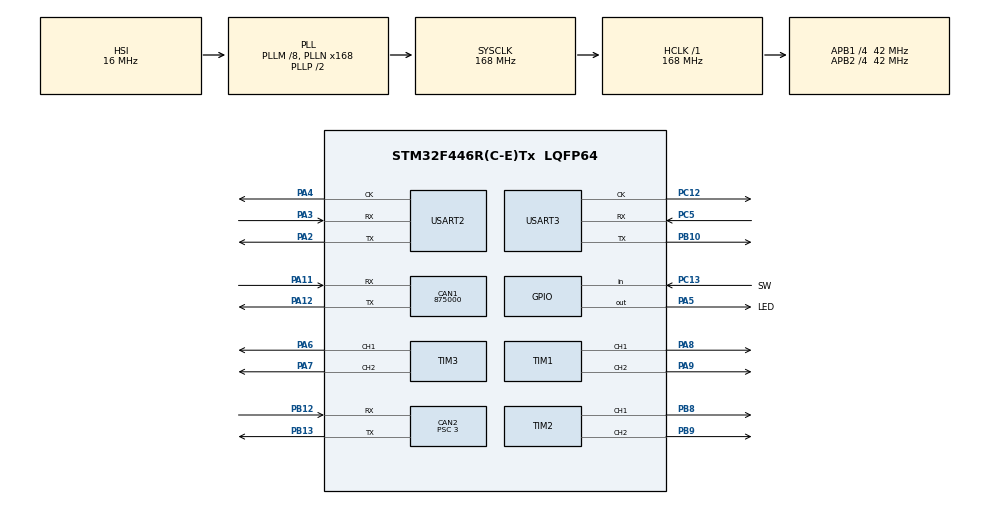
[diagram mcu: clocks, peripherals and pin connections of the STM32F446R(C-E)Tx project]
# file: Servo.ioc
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CAN1.CalculateBaudRate=875000
CAN1.CalculateTimeBit=1142
CAN1.CalculateTimeQuantum=380.95238095238096
CAN2.ABOM=ENABLE
CAN2.BS1=CAN_BS1_11TQ
CAN2.BS2=CAN_BS2_2TQ
CAN2.CalculateBaudRate=1000000
CAN2.CalculateTimeBit=1000
CAN2.CalculateTimeQuantum=71.42857142857143
CAN2.NART=ENABLE
CAN2.Prescaler=3
CAN2.SJW=CAN_SJW_4TQ
Mcu.Family=STM32F4
Mcu.Name=STM32F446R(C-E)Tx
Mcu.Package=LQFP64
NVIC.CAN1_RX0_IRQn=true\:0\:0\:false\:false\:true\:true\:true\:true
NVIC.CAN2_RX0_IRQn=false\:0\:0\:false\:false\:true\:true\:true\:true
NVIC.PriorityGroup=NVIC_PRIORITYGROUP_4
PA11.Mode=CAN_Activate
PA11.Signal=CAN1_RX
PA12.Mode=CAN_Activate
PA12.Signal=CAN1_TX
PA2.Mode=Synchronous
PA2.Signal=USART2_TX
PA3.Mode=Synchronous
PA3.Signal=USART2_RX
PA4.Mode=Synchronous
PA4.Signal=USART2_CK
PA5.GPIO_Label=LED
PA5.Signal=GPIO_Output
PA6.Signal=S_TIM3_CH1
PA7.Signal=S_TIM3_CH2
PA8.Signal=S_TIM1_CH1
PA9.Signal=S_TIM1_CH2
PB10.Mode=Synchronous
PB10.Signal=USART3_TX
PB12.Mode=CAN_Activate
PB12.Signal=CAN2_RX
PB13.Mode=CAN_Activate
PB13.Signal=CAN2_TX
PB8.Signal=S_TIM2_CH1_ETR
PB9.Signal=S_TIM2_CH2
PC12.Mode=Synchronous
PC12.Signal=USART3_CK
PC13.GPIO_Label=SW
PC13.Signal=GPIO_Input
PC5.Mode=Synchronous
PC5.Signal=USART3_RX
ProjectManager.HeapSize=0x200
ProjectManager.StackSize=0x400
ProjectManager.TargetToolchain=CMake
RCC.AHBFreq_Value=168000000
RCC.APB1CLKDivider=RCC_HCLK_DIV4
RCC.APB1Freq_Value=42000000
RCC.APB1TimFreq_Value=84000000
RCC.APB2CLKDivider=RCC_HCLK_DIV4
RCC.APB2Freq_Value=42000000
RCC.APB2TimFreq_Value=84000000
RCC.CortexFreq_Value=168000000
RCC.HCLKFreq_Value=168000000
RCC.PLLM=8
RCC.PLLN=168
RCC.SYSCLKFreq_VALUE=168000000
RCC.SYSCLKSource=RCC_SYSCLKSOURCE_PLLCLK
RCC.USBFreq_Value=168000000
RCC.VCOOutputFreq_Value=336000000
SH.S_TIM1_CH1.0=TIM1_CH1,PWM Generation1 CH1
SH.S_TIM1_CH2.0=TIM1_CH2,PWM Generation2 CH2
SH.S_TIM2_CH1_ETR.0=TIM2_CH1,PWM Generation1 CH1
SH.S_TIM2_CH2.0=TIM2_CH2,PWM Generation2 CH2
SH.S_TIM3_CH1.0=TIM3_CH1,PWM Generation1 CH1
SH.S_TIM3_CH2.0=TIM3_CH2,PWM Generation2 CH2
TIM1.Channel-PWM\ Generation1\ CH1=TIM_CHANNEL_1
TIM1.Channel-PWM\ Generation2\ CH2=TIM_CHANNEL_2
TIM2.Channel-PWM\ Generation1\ CH1=TIM_CHANNEL_1
TIM2.Channel-PWM\ Generation2\ CH2=TIM_CHANNEL_2
TIM3.Channel-PWM\ Generation1\ CH1=TIM_CHANNEL_1
TIM3.Channel-PWM\ Generation2\ CH2=TIM_CHANNEL_2
USART2.VirtualMode=VM_SYNC
USART3.VirtualMode=VM_SYNC
board=custom

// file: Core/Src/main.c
#include "main.h"
/* USER CODE BEGIN Includes */
#include "Altair_library_for_CubeIDE/altair.h"
/* USER CODE END Includes */

/* USER CODE BEGIN PD */
/* サーボ軸数（固定6軸） */
#define SERVO_COUNT 6U
/* サーボ目標角度を受信するCAN標準ID（100(dec) または 0x100(hex) を許可） */
#define CAN_SERVO_CMD_STD_ID_DEC 100U
#define CAN_SERVO_CMD_STD_ID_HEX 0x100U
/* 通信途絶とみなすまでの無受信時間[ms] */
#define CAN_RX_TIMEOUT_MS 200U
/* サーボ最小パルス幅[us]（0deg相当） */
#define SERVO_MIN_PULSE_US 500U
/* サーボ最大パルス幅[us]（180deg相当） */
#define SERVO_MAX_PULSE_US 2500U
/* 受け付ける角度の上限[deg] */
#define SERVO_MAX_DEGREE 180U
/* 一般的なRCサーボ向けPWM: 50Hz（20ms周期）, 1us分解能 */
#define SERVO_PWM_PRESCALER 83U
#define SERVO_PWM_PERIOD_TICKS 19999U
/* CAN値の微小な揺れを無視するしきい値[deg] */
#define SERVO_CAN_DEADBAND_DEG 0U
/* 同じ目標値を何回連続で受けたら反映するか */
#define SERVO_CAN_STABLE_COUNT 1U
/* USER CODE END PD */

CAN_HandleTypeDef hcan1;
CAN_HandleTypeDef hcan2;

TIM_HandleTypeDef htim1;
TIM_HandleTypeDef htim2;
TIM_HandleTypeDef htim3;

USART_HandleTypeDef husart2;
USART_HandleTypeDef husart3;

/* USER CODE BEGIN PV */
/* 各サーボの目標角度（初期値は全軸90度） */
static volatile uint8_t g_servo_target_deg[SERVO_COUNT] = {90U, 90U, 90U,
                                                           90U, 90U, 90U};
/* 直近のCAN受信角度を一時保持 */
static uint8_t g_servo_candidate_deg[SERVO_COUNT] = {90U, 90U, 90U,
                                                     90U, 90U, 90U};
/* 同じ候補値が連続した回数 */
static uint8_t g_servo_candidate_count[SERVO_COUNT] = {0U, 0U, 0U, 0U, 0U, 0U};
/* 最後に有効なCANを受信した時刻[ms] */
static volatile uint32_t g_last_can_rx_tick = 0U;
/* 最初の有効CAN受信後にPWM出力を開始する */
static uint8_t g_servo_outputs_started = 0U;
/* USER CODE END PV */

void SystemClock_Config(void);
static void MX_GPIO_Init(void);
static void MX_CAN1_Init(void);
static void MX_CAN2_Init(void);
static void MX_TIM1_Init(void);
static void MX_TIM2_Init(void);
static void MX_TIM3_Init(void);
static void MX_USART2_Init(void);
static void MX_USART3_Init(void);
/* USER CODE BEGIN PFP */
static uint32_t Servo_AngleToPulseUs(uint8_t degree);
static void Servo_ApplyTargets(void);
static void Servo_StartPwmOutputs(void);
static void Servo_ProcessCanCommand(void);
static uint8_t Servo_IsAcceptedCanId(uint32_t std_id);
static uint8_t Servo_GetAbsDiff(uint8_t lhs, uint8_t rhs);
/* USER CODE END PFP */

int main(void) {
  HAL_Init();
  SystemClock_Config();
  MX_GPIO_Init();
  MX_CAN1_Init();
  MX_CAN2_Init();
  MX_TIM1_Init();
  MX_TIM2_Init();
  MX_TIM3_Init();
  MX_USART2_Init();
  MX_USART3_Init();

  /* USER CODE BEGIN 2 */
  /* AltairライブラリのCAN初期化（フィルタ設定 + 受信割り込み開始） */
  CanInitConfig can1_config = Can_DefaultInitConfig(&hcan1);
  if (Can_Init(&hcan1, &can1_config) != HAL_OK) {
    Error_Handler();
  }

  /* CAN受信待ちに関係なく、初期角度でPWM出力を開始する */
  Servo_ApplyTargets();
  Servo_StartPwmOutputs();
  g_servo_outputs_started = 1U;
  /* USER CODE END 2 */

  while (1) {
    /* USER CODE BEGIN WHILE */
    /* can_lib.c 側コールバックで受信されたフレームを処理 */
    Servo_ProcessCanCommand();

    /* 受信が一定時間ない場合は通信LEDを消灯（角度は保持） */
    if ((HAL_GetTick() - g_last_can_rx_tick) > CAN_RX_TIMEOUT_MS) {
      HAL_GPIO_WritePin(LED_GPIO_Port, LED_Pin, GPIO_PIN_RESET);
    }
  }
}

void SystemClock_Config(void) {
  RCC_OscInitTypeDef RCC_OscInitStruct = {0};
  RCC_ClkInitTypeDef RCC_ClkInitStruct = {0};

  /** Configure the main internal regulator output voltage
   */
  __HAL_RCC_PWR_CLK_ENABLE();
  __HAL_PWR_VOLTAGESCALING_CONFIG(PWR_REGULATOR_VOLTAGE_SCALE1);

  /** Initializes the RCC Oscillators according to the specified parameters
   * in the RCC_OscInitTypeDef structure.
   */
  RCC_OscInitStruct.OscillatorType = RCC_OSCILLATORTYPE_HSI;
  RCC_OscInitStruct.HSIState = RCC_HSI_ON;
  RCC_OscInitStruct.HSICalibrationValue = RCC_HSICALIBRATION_DEFAULT;
  RCC_OscInitStruct.PLL.PLLState = RCC_PLL_ON;
  RCC_OscInitStruct.PLL.PLLSource = RCC_PLLSOURCE_HSI;
  RCC_OscInitStruct.PLL.PLLM = 8;
  RCC_OscInitStruct.PLL.PLLN = 168;
  RCC_OscInitStruct.PLL.PLLP = RCC_PLLP_DIV2;
  RCC_OscInitStruct.PLL.PLLQ = 2;
  RCC_OscInitStruct.PLL.PLLR = 2;
  if (HAL_RCC_OscConfig(&RCC_OscInitStruct) != HAL_OK) {
    Error_Handler();
  }

  /** Initializes the CPU, AHB and APB buses clocks
   */
  RCC_ClkInitStruct.ClockType = RCC_CLOCKTYPE_HCLK | RCC_CLOCKTYPE_SYSCLK |
                                RCC_CLOCKTYPE_PCLK1 | RCC_CLOCKTYPE_PCLK2;
  RCC_ClkInitStruct.SYSCLKSource = RCC_SYSCLKSOURCE_PLLCLK;
  RCC_ClkInitStruct.AHBCLKDivider = RCC_SYSCLK_DIV1;
  RCC_ClkInitStruct.APB1CLKDivider = RCC_HCLK_DIV4;
  RCC_ClkInitStruct.APB2CLKDivider = RCC_HCLK_DIV4;

  if (HAL_RCC_ClockConfig(&RCC_ClkInitStruct, FLASH_LATENCY_5) != HAL_OK) {
    Error_Handler();
  }
}

static void MX_CAN1_Init(void) {

  hcan1.Instance = CAN1;
  hcan1.Init.Prescaler = 2;
  hcan1.Init.Mode = CAN_MODE_NORMAL;
  hcan1.Init.SyncJumpWidth = CAN_SJW_2TQ;
  hcan1.Init.TimeSeg1 = CAN_BS1_16TQ;
  hcan1.Init.TimeSeg2 = CAN_BS2_4TQ;
  hcan1.Init.TimeTriggeredMode = DISABLE;
  hcan1.Init.AutoBusOff = ENABLE;
  hcan1.Init.AutoWakeUp = DISABLE;
  hcan1.Init.AutoRetransmission = ENABLE;
  hcan1.Init.ReceiveFifoLocked = DISABLE;
  hcan1.Init.TransmitFifoPriority = DISABLE;
  if (HAL_CAN_Init(&hcan1) != HAL_OK) {
    Error_Handler();
  }
}

static void MX_CAN2_Init(void) {

  hcan2.Instance = CAN2;
  hcan2.Init.Prescaler = 2;
  hcan2.Init.Mode = CAN_MODE_NORMAL;
  hcan2.Init.SyncJumpWidth = CAN_SJW_2TQ;
  hcan2.Init.TimeSeg1 = CAN_BS1_16TQ;
  hcan2.Init.TimeSeg2 = CAN_BS2_4TQ;
  hcan2.Init.TimeTriggeredMode = DISABLE;
  hcan2.Init.AutoBusOff = ENABLE;
  hcan2.Init.AutoWakeUp = DISABLE;
  hcan2.Init.AutoRetransmission = ENABLE;
  hcan2.Init.ReceiveFifoLocked = DISABLE;
  hcan2.Init.TransmitFifoPriority = DISABLE;
  if (HAL_CAN_Init(&hcan2) != HAL_OK) {
    Error_Handler();
  }
}

static void MX_TIM1_Init(void) {

  TIM_MasterConfigTypeDef sMasterConfig = {0};
  TIM_OC_InitTypeDef sConfigOC = {0};
  TIM_BreakDeadTimeConfigTypeDef sBreakDeadTimeConfig = {0};

  htim1.Instance = TIM1;
  htim1.Init.Prescaler = SERVO_PWM_PRESCALER;
  htim1.Init.CounterMode = TIM_COUNTERMODE_UP;
  htim1.Init.Period = SERVO_PWM_PERIOD_TICKS;
  htim1.Init.ClockDivision = TIM_CLOCKDIVISION_DIV1;
  htim1.Init.RepetitionCounter = 0;
  htim1.Init.AutoReloadPreload = TIM_AUTORELOAD_PRELOAD_DISABLE;
  if (HAL_TIM_PWM_Init(&htim1) != HAL_OK) {
    Error_Handler();
  }
  sMasterConfig.MasterOutputTrigger = TIM_TRGO_RESET;
  sMasterConfig.MasterSlaveMode = TIM_MASTERSLAVEMODE_DISABLE;
  if (HAL_TIMEx_MasterConfigSynchronization(&htim1, &sMasterConfig) != HAL_OK) {
    Error_Handler();
  }
  sConfigOC.OCMode = TIM_OCMODE_PWM1;
  sConfigOC.Pulse = 0;
  sConfigOC.OCPolarity = TIM_OCPOLARITY_HIGH;
  sConfigOC.OCNPolarity = TIM_OCNPOLARITY_HIGH;
  sConfigOC.OCFastMode = TIM_OCFAST_DISABLE;
  sConfigOC.OCIdleState = TIM_OCIDLESTATE_RESET;
  sConfigOC.OCNIdleState = TIM_OCNIDLESTATE_RESET;
  if (HAL_TIM_PWM_ConfigChannel(&htim1, &sConfigOC, TIM_CHANNEL_1) != HAL_OK) {
    Error_Handler();
  }
  if (HAL_TIM_PWM_ConfigChannel(&htim1, &sConfigOC, TIM_CHANNEL_2) != HAL_OK) {
    Error_Handler();
  }
  sBreakDeadTimeConfig.OffStateRunMode = TIM_OSSR_DISABLE;
  sBreakDeadTimeConfig.OffStateIDLEMode = TIM_OSSI_DISABLE;
  sBreakDeadTimeConfig.LockLevel = TIM_LOCKLEVEL_OFF;
  sBreakDeadTimeConfig.DeadTime = 0;
  sBreakDeadTimeConfig.BreakState = TIM_BREAK_DISABLE;
  sBreakDeadTimeConfig.BreakPolarity = TIM_BREAKPOLARITY_HIGH;
  sBreakDeadTimeConfig.AutomaticOutput = TIM_AUTOMATICOUTPUT_DISABLE;
  if (HAL_TIMEx_ConfigBreakDeadTime(&htim1, &sBreakDeadTimeConfig) != HAL_OK) {
    Error_Handler();
  }
  HAL_TIM_MspPostInit(&htim1);
}

static void MX_TIM2_Init(void) {

  TIM_MasterConfigTypeDef sMasterConfig = {0};
  TIM_OC_InitTypeDef sConfigOC = {0};

  htim2.Instance = TIM2;
  htim2.Init.Prescaler = SERVO_PWM_PRESCALER;
  htim2.Init.CounterMode = TIM_COUNTERMODE_UP;
  htim2.Init.Period = SERVO_PWM_PERIOD_TICKS;
  htim2.Init.ClockDivision = TIM_CLOCKDIVISION_DIV1;
  htim2.Init.AutoReloadPreload = TIM_AUTORELOAD_PRELOAD_DISABLE;
  if (HAL_TIM_PWM_Init(&htim2) != HAL_OK) {
    Error_Handler();
  }
  sMasterConfig.MasterOutputTrigger = TIM_TRGO_RESET;
  sMasterConfig.MasterSlaveMode = TIM_MASTERSLAVEMODE_DISABLE;
  if (HAL_TIMEx_MasterConfigSynchronization(&htim2, &sMasterConfig) != HAL_OK) {
    Error_Handler();
  }
  sConfigOC.OCMode = TIM_OCMODE_PWM1;
  sConfigOC.Pulse = 0;
  sConfigOC.OCPolarity = TIM_OCPOLARITY_HIGH;
  sConfigOC.OCFastMode = TIM_OCFAST_DISABLE;
  if (HAL_TIM_PWM_ConfigChannel(&htim2, &sConfigOC, TIM_CHANNEL_1) != HAL_OK) {
    Error_Handler();
  }
  if (HAL_TIM_PWM_ConfigChannel(&htim2, &sConfigOC, TIM_CHANNEL_2) != HAL_OK) {
    Error_Handler();
  }
  HAL_TIM_MspPostInit(&htim2);
}

static void MX_TIM3_Init(void) {

  TIM_MasterConfigTypeDef sMasterConfig = {0};
  TIM_OC_InitTypeDef sConfigOC = {0};

  htim3.Instance = TIM3;
  htim3.Init.Prescaler = SERVO_PWM_PRESCALER;
  htim3.Init.CounterMode = TIM_COUNTERMODE_UP;
  htim3.Init.Period = SERVO_PWM_PERIOD_TICKS;
  htim3.Init.ClockDivision = TIM_CLOCKDIVISION_DIV1;
  htim3.Init.AutoReloadPreload = TIM_AUTORELOAD_PRELOAD_DISABLE;
  if (HAL_TIM_PWM_Init(&htim3) != HAL_OK) {
    Error_Handler();
  }
  sMasterConfig.MasterOutputTrigger = TIM_TRGO_RESET;
  sMasterConfig.MasterSlaveMode = TIM_MASTERSLAVEMODE_DISABLE;
  if (HAL_TIMEx_MasterConfigSynchronization(&htim3, &sMasterConfig) != HAL_OK) {
    Error_Handler();
  }
  sConfigOC.OCMode = TIM_OCMODE_PWM1;
  sConfigOC.Pulse = 0;
  sConfigOC.OCPolarity = TIM_OCPOLARITY_HIGH;
  sConfigOC.OCFastMode = TIM_OCFAST_DISABLE;
  if (HAL_TIM_PWM_ConfigChannel(&htim3, &sConfigOC, TIM_CHANNEL_1) != HAL_OK) {
    Error_Handler();
  }
  if (HAL_TIM_PWM_ConfigChannel(&htim3, &sConfigOC, TIM_CHANNEL_2) != HAL_OK) {
    Error_Handler();
  }
  HAL_TIM_MspPostInit(&htim3);
}

static void MX_USART2_Init(void) {

  husart2.Instance = USART2;
  husart2.Init.BaudRate = 115200;
  husart2.Init.WordLength = USART_WORDLENGTH_8B;
  husart2.Init.StopBits = USART_STOPBITS_1;
  husart2.Init.Parity = USART_PARITY_NONE;
  husart2.Init.Mode = USART_MODE_TX_RX;
  husart2.Init.CLKPolarity = USART_POLARITY_LOW;
  husart2.Init.CLKPhase = USART_PHASE_1EDGE;
  husart2.Init.CLKLastBit = USART_LASTBIT_DISABLE;
  if (HAL_USART_Init(&husart2) != HAL_OK) {
    Error_Handler();
  }
}

static void MX_USART3_Init(void) {

  husart3.Instance = USART3;
  husart3.Init.BaudRate = 115200;
  husart3.Init.WordLength = USART_WORDLENGTH_8B;
  husart3.Init.StopBits = USART_STOPBITS_1;
  husart3.Init.Parity = USART_PARITY_NONE;
  husart3.Init.Mode = USART_MODE_TX_RX;
  husart3.Init.CLKPolarity = USART_POLARITY_LOW;
  husart3.Init.CLKPhase = USART_PHASE_1EDGE;
  husart3.Init.CLKLastBit = USART_LASTBIT_DISABLE;
  if (HAL_USART_Init(&husart3) != HAL_OK) {
    Error_Handler();
  }
}

static void MX_GPIO_Init(void) {
  GPIO_InitTypeDef GPIO_InitStruct = {0};

  /* GPIO Ports Clock Enable */
  __HAL_RCC_GPIOC_CLK_ENABLE();
  __HAL_RCC_GPIOA_CLK_ENABLE();
  __HAL_RCC_GPIOB_CLK_ENABLE();

  /*Configure GPIO pin Output Level */
  HAL_GPIO_WritePin(LED_GPIO_Port, LED_Pin, GPIO_PIN_RESET);

  /*Configure GPIO pin : SW_Pin */
  GPIO_InitStruct.Pin = SW_Pin;
  GPIO_InitStruct.Mode = GPIO_MODE_INPUT;
  GPIO_InitStruct.Pull = GPIO_NOPULL;
  HAL_GPIO_Init(SW_GPIO_Port, &GPIO_InitStruct);

  /*Configure GPIO pin : LED_Pin */
  GPIO_InitStruct.Pin = LED_Pin;
  GPIO_InitStruct.Mode = GPIO_MODE_OUTPUT_PP;
  GPIO_InitStruct.Pull = GPIO_NOPULL;
  GPIO_InitStruct.Speed = GPIO_SPEED_FREQ_LOW;
  HAL_GPIO_Init(LED_GPIO_Port, &GPIO_InitStruct);

}

/* USER CODE BEGIN 4 */
static uint32_t Servo_AngleToPulseUs(uint8_t degree) {
  uint32_t clamped_degree;
  uint32_t pulse_range;

  /* 角度入力を0..180degに収める */
  clamped_degree = (degree > SERVO_MAX_DEGREE) ? SERVO_MAX_DEGREE : degree;
  pulse_range = SERVO_MAX_PULSE_US - SERVO_MIN_PULSE_US;

  /* 0..180deg を 500..2500us に線形変換 */
  return SERVO_MIN_PULSE_US +
         ((pulse_range * clamped_degree) / SERVO_MAX_DEGREE);
}

static void Servo_ApplyTargets(void) {
  /* ピン割当: PA6/PA7/PA8/PA9/PB8/PB9 */
  __HAL_TIM_SET_COMPARE(&htim3, TIM_CHANNEL_1,
                        Servo_AngleToPulseUs(g_servo_target_deg[0]));
  __HAL_TIM_SET_COMPARE(&htim3, TIM_CHANNEL_2,
                        Servo_AngleToPulseUs(g_servo_target_deg[1]));
  __HAL_TIM_SET_COMPARE(&htim1, TIM_CHANNEL_1,
                        Servo_AngleToPulseUs(g_servo_target_deg[2]));
  __HAL_TIM_SET_COMPARE(&htim1, TIM_CHANNEL_2,
                        Servo_AngleToPulseUs(g_servo_target_deg[3]));
  __HAL_TIM_SET_COMPARE(&htim2, TIM_CHANNEL_1,
                        Servo_AngleToPulseUs(g_servo_target_deg[4]));
  __HAL_TIM_SET_COMPARE(&htim2, TIM_CHANNEL_2,
                        Servo_AngleToPulseUs(g_servo_target_deg[5]));
}

static void Servo_StartPwmOutputs(void) {
  if (HAL_TIM_PWM_Start(&htim3, TIM_CHANNEL_1) != HAL_OK) {
    Error_Handler();
  }

  if (HAL_TIM_PWM_Start(&htim3, TIM_CHANNEL_2) != HAL_OK) {
    Error_Handler();
  }

  if (HAL_TIM_PWM_Start(&htim1, TIM_CHANNEL_1) != HAL_OK) {
    Error_Handler();
  }

  if (HAL_TIM_PWM_Start(&htim1, TIM_CHANNEL_2) != HAL_OK) {
    Error_Handler();
  }

  if (HAL_TIM_PWM_Start(&htim2, TIM_CHANNEL_1) != HAL_OK) {
    Error_Handler();
  }

  if (HAL_TIM_PWM_Start(&htim2, TIM_CHANNEL_2) != HAL_OK) {
    Error_Handler();
  }
}

static void Servo_ProcessCanFrame(const CanRxData *rx) {
  uint32_t i;
  uint8_t target_changed = 0U;

  g_last_can_rx_tick = HAL_GetTick();
  HAL_GPIO_WritePin(LED_GPIO_Port, LED_Pin, GPIO_PIN_SET);

  /* 標準ID 100(dec) または 0x100(hex)、かつ DLC>=6 のみ処理 */
  if ((Servo_IsAcceptedCanId(rx->std_id) == 0U) || (rx->dlc < SERVO_COUNT)) {
    return;
  }

  /* 各軸角度を更新（過大値は180degへクリップ） */
  for (i = 0; i < SERVO_COUNT; i++) {
    uint8_t received_degree =
        (rx->data[i] > SERVO_MAX_DEGREE) ? SERVO_MAX_DEGREE : rx->data[i];

    if (Servo_GetAbsDiff(g_servo_candidate_deg[i], received_degree) <=
        SERVO_CAN_DEADBAND_DEG) {
      if (g_servo_candidate_count[i] < SERVO_CAN_STABLE_COUNT) {
        g_servo_candidate_count[i]++;
      }
    } else {
      g_servo_candidate_deg[i] = received_degree;
      g_servo_candidate_count[i] = 1U;
    }

    if ((g_servo_candidate_count[i] >= SERVO_CAN_STABLE_COUNT) &&
        (Servo_GetAbsDiff(g_servo_target_deg[i], g_servo_candidate_deg[i]) >
         SERVO_CAN_DEADBAND_DEG)) {
      g_servo_target_deg[i] = g_servo_candidate_deg[i];
      target_changed = 1U;
    }
  }

  if (g_servo_outputs_started == 0U) {
    Servo_StartPwmOutputs();
    g_servo_outputs_started = 1U;
  }

  if (target_changed != 0U) {
    Servo_ApplyTargets();
  }
}

static void Servo_ProcessCanCommand(void) {
  CanRxData rx;

  /* 受信キューに溜まった全フレームを順番に処理する */
  while (Can_Receive(&g_can1_rx_queue, &rx) != 0U) {
    Servo_ProcessCanFrame(&rx);
  }
}

static uint8_t Servo_IsAcceptedCanId(uint32_t std_id) {
  if ((std_id == CAN_SERVO_CMD_STD_ID_DEC) ||
      (std_id == CAN_SERVO_CMD_STD_ID_HEX)) {
    return 1U;
  }

  return 0U;
}

static uint8_t Servo_GetAbsDiff(uint8_t lhs, uint8_t rhs) {
  return (lhs > rhs) ? (lhs - rhs) : (rhs - lhs);
}

/* USER CODE END 4 */

void Error_Handler(void) {
  __disable_irq();
  while (1) {
  }
}
#ifdef USE_FULL_ASSERT
/**
 * @brief  Reports the name of the source file and the source line number
 *         where the assert_param error has occurred.
 * @param  file: pointer to the source file name
 * @param  line: assert_param error line source number
 * @retval None
 */
void assert_failed(uint8_t *file, uint32_t line) {
  /* USER CODE BEGIN 6 */
  /* User can add his own implementation to report the file name and line
     number, ex: printf("Wrong parameters value: file %s on line %d\r\n", file,
     line) */
  /* USER CODE END 6 */
}
#endif /* USE_FULL_ASSERT */
